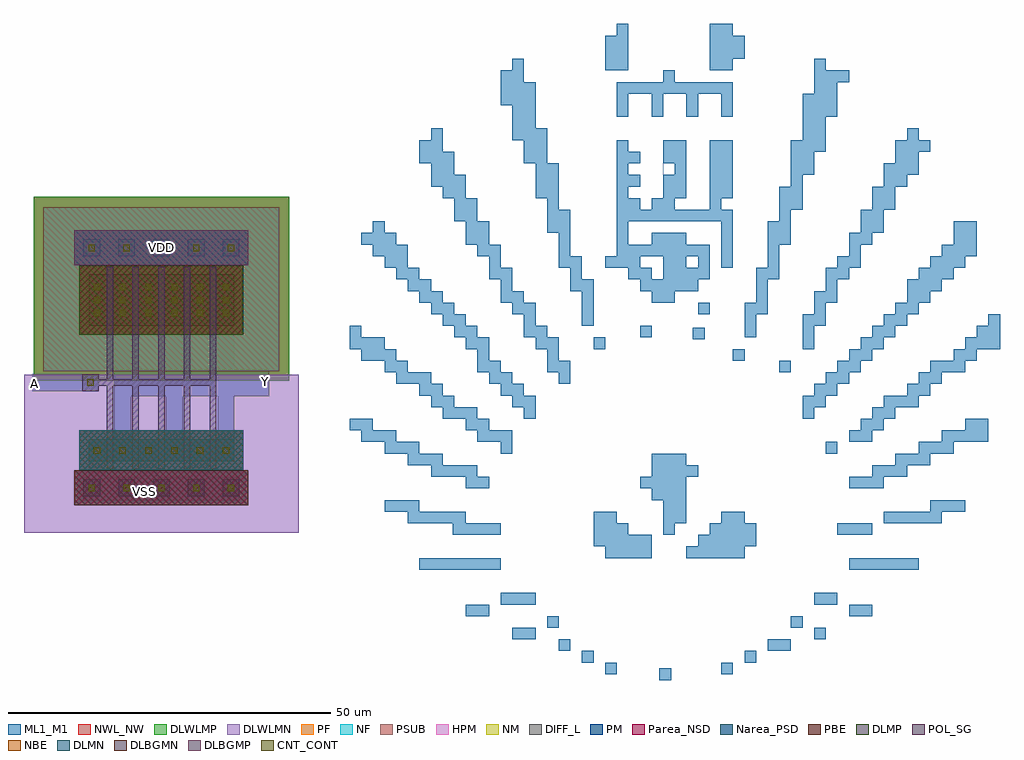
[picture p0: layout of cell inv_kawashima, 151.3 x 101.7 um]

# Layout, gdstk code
import gdstk
lib = gdstk.Library(unit=1e-6, precision=1e-07)
def R(c, l, rs):  # rectangles x0, y0, x1, y1
    for r in rs: c.add(gdstk.rectangle(r[:2], r[2:], *l))
def A(c, l, x, y, w, h, nx, ny, dx, dy):  # array of equal rectangles
    R(c, l, [(x+i*dx, y+j*dy, x+i*dx+w, y+j*dy+h) for i in range(nx) for j in range(ny)])
def P(c, l, *ps):  # polygons
    for p in ps: c.add(gdstk.Polygon(p, *l))
DIFF_L = (3, 0)
NM = (7, 0)
POL_SG = (8, 0)
Narea_PSD = (9, 0)
CNT_CONT = (11, 0)
ML1_M1 = (13, 0)
NF = (25, 0)
PF = (26, 0)
Parea_NSD = (28, 0)
HPM = (33, 0)
PM = (35, 0)
NWL_NW = (36, 0)
PSUB = (140, 0)
PBE = (146, 0)
NBE = (147, 0)
DLWLMP = (150, 0)
DLWLMN = (151, 0)
DLMP = (157, 0)
DLMN = (158, 0)
DLBGMP = (177, 0)
DLBGMN = (178, 0)

dcont_2 = lib.new_cell('DCONT$2')
R(dcont_2, DIFF_L, [(-1.3,-1.3,1.3,1.3)])
R(dcont_2, CNT_CONT, [(-0.5,-0.5,0.5,0.5)])
R(dcont_2, ML1_M1, [(-1.3,-1.3,1.3,1.3), (-0.5,-0.5,0.5,0.5)])

bgmn = lib.new_cell('BGMN')
R(bgmn, NM, [(-2.7,-2.7,2.7,2.7)])
R(bgmn, Parea_NSD, [(-2.7,-2.7,2.7,2.7)])
R(bgmn, HPM, [(-2.7,-2.7,2.7,2.7)])
R(bgmn, PM, [(-2.7,-2.7,2.7,2.7)])
R(bgmn, DLBGMN, [(-2.7,-2.7,2.7,2.7)])
bgmn.add(gdstk.Reference(dcont_2, (0,0)))

pcont = lib.new_cell('pcont')
R(pcont, POL_SG, [(-1.3,-1.3,1.3,1.3)])
R(pcont, CNT_CONT, [(-0.5,-0.5,0.5,0.5)])
R(pcont, ML1_M1, [(-1.3,-1.3,1.3,1.3), (-0.5,-0.5,0.5,0.5)])

dcont = lib.new_cell('dcont')
R(dcont, DIFF_L, [(-1.3,-1.3,1.3,1.3)])
R(dcont, CNT_CONT, [(-0.5,-0.5,0.5,0.5)])
R(dcont, ML1_M1, [(-1.3,-1.3,1.3,1.3), (-0.5,-0.5,0.5,0.5)])

mp_1 = lib.new_cell('MP$1')
R(mp_1, DIFF_L, [(0,3.6,22.6,11.6)])
R(mp_1, NM, [(-1.4,2.2,24,13)])
R(mp_1, NF, [(-7,-3.4,29.6,18.6)])
R(mp_1, PF, [(-7,-3.4,29.6,18.6)])
R(mp_1, Parea_NSD, [(-1.4,2.2,24,13)])
R(mp_1, HPM, [(-1.4,2.2,24,13)])
R(mp_1, NWL_NW, [(-8.5,-4.9,31.1,20.1)])
R(mp_1, PSUB, [(-7,-3.4,29.6,18.6)])
R(mp_1, PBE, [(-1.4,2.2,24,13)])
R(mp_1, DLWLMP, [(-8.5,-4.9,31.1,20.1)])
R(mp_1, DLMP, [(-1.4,2.2,24,13)])
mp_1.add(gdstk.FlexPath([(1.3,3.6),(1.3,11.6)], 2.6, ends="flush", simple_path=True, layer=13, datatype=0))  # ML1_M1
mp_1.add(gdstk.FlexPath([(5.3,3.6),(5.3,11.6)], 2.6, ends="flush", simple_path=True, layer=13, datatype=0))  # ML1_M1
mp_1.add(gdstk.FlexPath([(9.3,3.6),(9.3,11.6)], 2.6, ends="flush", simple_path=True, layer=13, datatype=0))  # ML1_M1
mp_1.add(gdstk.FlexPath([(13.3,3.6),(13.3,11.6)], 2.6, ends="flush", simple_path=True, layer=13, datatype=0))  # ML1_M1
mp_1.add(gdstk.FlexPath([(17.3,3.6),(17.3,11.6)], 2.6, ends="flush", simple_path=True, layer=13, datatype=0))  # ML1_M1
mp_1.add(gdstk.FlexPath([(21.3,3.6),(21.3,11.6)], 2.6, ends="flush", simple_path=True, layer=13, datatype=0))  # ML1_M1
mp_1.add(gdstk.FlexPath([(3.3,3.6),(3.3,11.6)], 1, ends=(1.2, 1.2), simple_path=True, layer=8, datatype=0))  # POL_SG
mp_1.add(gdstk.FlexPath([(7.3,3.6),(7.3,11.6)], 1, ends=(1.2, 1.2), simple_path=True, layer=8, datatype=0))  # POL_SG
mp_1.add(gdstk.FlexPath([(11.3,3.6),(11.3,11.6)], 1, ends=(1.2, 1.2), simple_path=True, layer=8, datatype=0))  # POL_SG
mp_1.add(gdstk.FlexPath([(15.3,3.6),(15.3,11.6)], 1, ends=(1.2, 1.2), simple_path=True, layer=8, datatype=0))  # POL_SG
mp_1.add(gdstk.FlexPath([(19.3,3.6),(19.3,11.6)], 1, ends=(1.2, 1.2), simple_path=True, layer=8, datatype=0))  # POL_SG
mp_1.add(gdstk.Reference(dcont, (1.3,5.6)))
mp_1.add(gdstk.Reference(dcont, (1.3,7.6)))
mp_1.add(gdstk.Reference(dcont, (1.3,9.6)))
mp_1.add(gdstk.Reference(dcont, (5.3,5.6)))
mp_1.add(gdstk.Reference(dcont, (5.3,7.6)))
mp_1.add(gdstk.Reference(dcont, (5.3,9.6)))
mp_1.add(gdstk.Reference(dcont, (9.3,5.6)))
mp_1.add(gdstk.Reference(dcont, (9.3,7.6)))
mp_1.add(gdstk.Reference(dcont, (9.3,9.6)))
mp_1.add(gdstk.Reference(dcont, (13.3,5.6)))
mp_1.add(gdstk.Reference(dcont, (13.3,7.6)))
mp_1.add(gdstk.Reference(dcont, (13.3,9.6)))
mp_1.add(gdstk.Reference(dcont, (17.3,5.6)))
mp_1.add(gdstk.Reference(dcont, (17.3,7.6)))
mp_1.add(gdstk.Reference(dcont, (17.3,9.6)))
mp_1.add(gdstk.Reference(dcont, (21.3,5.6)))
mp_1.add(gdstk.Reference(dcont, (21.3,7.6)))
mp_1.add(gdstk.Reference(dcont, (21.3,9.6)))

c_mn = lib.new_cell('MN')
R(c_mn, DIFF_L, [(0,3.6,22.6,7)])
R(c_mn, Narea_PSD, [(-1.4,2.2,24,8.4)])
R(c_mn, HPM, [(-1.4,2.2,24,8.4)])
R(c_mn, PM, [(-1.4,2.2,24,8.4)])
R(c_mn, NBE, [(-1.4,2.2,24,8.4)])
R(c_mn, DLWLMN, [(-10,-6.4,32.6,17)])
R(c_mn, DLMN, [(-1.4,2.2,24,8.4)])
c_mn.add(gdstk.FlexPath([(1.3,3.6),(1.3,7)], 2.6, ends="flush", simple_path=True, layer=13, datatype=0))  # ML1_M1
c_mn.add(gdstk.FlexPath([(5.3,3.6),(5.3,7)], 2.6, ends="flush", simple_path=True, layer=13, datatype=0))  # ML1_M1
c_mn.add(gdstk.FlexPath([(9.3,3.6),(9.3,7)], 2.6, ends="flush", simple_path=True, layer=13, datatype=0))  # ML1_M1
c_mn.add(gdstk.FlexPath([(13.3,3.6),(13.3,7)], 2.6, ends="flush", simple_path=True, layer=13, datatype=0))  # ML1_M1
c_mn.add(gdstk.FlexPath([(17.3,3.6),(17.3,7)], 2.6, ends="flush", simple_path=True, layer=13, datatype=0))  # ML1_M1
c_mn.add(gdstk.FlexPath([(21.3,3.6),(21.3,7)], 2.6, ends="flush", simple_path=True, layer=13, datatype=0))  # ML1_M1
c_mn.add(gdstk.FlexPath([(3.3,3.6),(3.3,7)], 1, ends=(1.2, 1.2), simple_path=True, layer=8, datatype=0))  # POL_SG
c_mn.add(gdstk.FlexPath([(7.3,3.6),(7.3,7)], 1, ends=(1.2, 1.2), simple_path=True, layer=8, datatype=0))  # POL_SG
c_mn.add(gdstk.FlexPath([(11.3,3.6),(11.3,7)], 1, ends=(1.2, 1.2), simple_path=True, layer=8, datatype=0))  # POL_SG
c_mn.add(gdstk.FlexPath([(15.3,3.6),(15.3,7)], 1, ends=(1.2, 1.2), simple_path=True, layer=8, datatype=0))  # POL_SG
c_mn.add(gdstk.FlexPath([(19.3,3.6),(19.3,7)], 1, ends=(1.2, 1.2), simple_path=True, layer=8, datatype=0))  # POL_SG
c_mn.add(gdstk.Reference(dcont, (1.3,5.3)))
c_mn.add(gdstk.Reference(dcont, (5.3,5.3)))
c_mn.add(gdstk.Reference(dcont, (9.3,5.3)))
c_mn.add(gdstk.Reference(dcont, (13.3,5.3)))
c_mn.add(gdstk.Reference(dcont, (17.3,5.3)))
c_mn.add(gdstk.Reference(dcont, (21.3,5.3)))

bgmp = lib.new_cell('BGMP')
R(bgmp, NM, [(-2.7,-2.7,2.7,2.7)])
R(bgmp, Narea_PSD, [(-2.7,-2.7,2.7,2.7)])
R(bgmp, HPM, [(-2.7,-2.7,2.7,2.7)])
R(bgmp, PM, [(-2.7,-2.7,2.7,2.7)])
R(bgmp, DLBGMP, [(-2.7,-2.7,2.7,2.7)])
bgmp.add(gdstk.Reference(dcont_2, (0,0)))

kyushu_png = lib.new_cell('kyushu.png')
A(kyushu_png, ML1_M1, 81.9, 36, 1.8, 1.8, 4, 1, 5.4, 0)
R(kyushu_png, ML1_M1, [(98.1,-50.4,99.9,-48.6), (105.3,-46.8,108.9,-45), (65.7,-45,69.3,-43.2), (112.5,-45,114.3,-43.2), (71.1,-43.2,72.9,-41.4), (108.9,-43.2,110.7,-41.4), (58.5,-41.4,62.1,-39.6), (117.9,-41.4,121.5,-39.6), (63.9,-39.6,69.3,-37.8), (112.5,-39.6,116.1,-37.8), (51.3,-34.2,63.9,-32.4), (117.9,-34.2,128.7,-32.4), (56.5,-28.8,63.9,-27), (116.1,-28.8,121.5,-27), (121.5,-21.6,123.3,-19.8), (87.3,-18,92.7,-16.2), (117.9,-14.4,119.7,-12.6), (40.5,-12.6,44.1,-10.8), (135.9,-12.6,139.5,-10.8), (67.5,-10.8,69.3,-9), (110.7,-10.8,112.5,-9), (65.7,-9,67.5,-7.2), (112.5,-9,114.3,-7.2), (123.3,-9,126.9,-7.2), (72.9,-5.4,74.7,-3.6), (99.9,-1.8,101.7,0), (58.5,0,60.3,1.8), (78.3,0,80.1,1.8), (101.7,1.8,103.5,5.4), (76.5,3.6,78.3,5.4), (94.5,5.4,96.3,7.2), (101.7,5.4,103.5,7.2), (103.5,7.2,105.3,10.8), (76.5,9,78.3,10.8), (103.5,10.8,105.3,12.6), (98.1,12.6,99.9,19.8), (89.1,28.8,92.7,32.4), (96.3,28.8,99.9,32.4), (81.9,37.8,83.7,39.6), (87.3,37.8,89.1,39.6), (98.1,39.6,99.9,41.4)])
P(kyushu_png, ML1_M1, [(89.1,23.4),(89.1,28.8),(89.1,27),(90.9,27),(90.9,28.8),(92.7,28.8),(92.7,23.4)],
  [(114.3,-5.4),(114.3,-3.6),(116.1,-3.6),(116.1,-1.8),(117.9,-1.8),(117.9,-3.6),(116.1,-3.6),(116.1,-5.4)],
  [(96.3,43.2),(96.3,50.4),(99.9,50.4),(99.9,48.6),(101.7,48.6),(101.7,45),(99.9,45),(99.9,43.2)],
  [(80.1,43.2),(80.1,48.6),(81.9,48.6),(81.9,50.4),(83.7,50.4),(83.7,43.2)],
  [(110.7,37.8),(110.7,39.6),(112.5,39.6),(112.5,45),(114.3,45),(114.3,43.2),(117.9,43.2),(117.9,41.4),(116.1,41.4),(116.1,37.8)],
  [(63.9,37.8),(63.9,43.2),(65.7,43.2),(65.7,45),(67.5,45),(67.5,41.4),(69.3,41.4),(69.3,37.8)],
  [(92.7,37.8),(92.7,39.6),(81.9,39.6),(81.9,41.4),(89.1,41.4),(89.1,43.2),(90.9,43.2),(90.9,41.4),(98.1,41.4),(98.1,39.6),(94.5,39.6),(94.5,37.8)],
  [(67.5,28.8),(67.5,32.4),(65.7,32.4),(65.7,37.8),(69.3,37.8),(69.3,34.2),(71.1,34.2),(71.1,28.8)],
  [(108.9,28.8),(108.9,32.4),(110.7,32.4),(110.7,37.8),(116.1,37.8),(116.1,36),(114.3,36),(114.3,30.6),(112.5,30.6),(112.5,28.8)],
  [(125.1,28.8),(125.1,32.4),(126.9,32.4),(126.9,34.2),(128.7,34.2),(128.7,32.4),(130.5,32.4),(130.5,30.6),(128.7,30.6),(128.7,28.8)],
  [(51.3,28.8),(51.3,32.4),(53.1,32.4),(53.1,34.2),(54.9,34.2),(54.9,30.6),(56.7,30.6),(56.7,28.8)],
  [(81.9,28.8),(81.9,32.4),(83.7,32.4),(83.7,30.6),(85.5,30.6),(85.5,28.8)],
  [(56.7,19.8),(56.7,23.4),(54.9,23.4),(54.9,25.2),(53.1,25.2),(53.1,28.8),(56.7,28.8),(56.7,27),(58.5,27),(58.5,23.4),(60.3,23.4),(60.3,19.8)],
  [(119.7,19.8),(119.7,21.6),(121.5,21.6),(121.5,25.2),(123.3,25.2),(123.3,28.8),(128.7,28.8),(128.7,27),(126.9,27),(126.9,25.2),(125.1,25.2),(125.1,21.6),(123.3,21.6),(123.3,19.8)],
  [(107.1,19.8),(107.1,25.2),(108.9,25.2),(108.9,28.8),(112.5,28.8),(112.5,27),(110.7,27),(110.7,21.6),(108.9,21.6),(108.9,19.8)],
  [(81.9,19.8),(81.9,28.8),(83.7,28.8),(83.7,27),(85.5,27),(85.5,25.2),(83.7,25.2),(83.7,23.4),(85.5,23.4),(85.5,21.6),(87.3,21.6),(87.3,23.4),(89.1,23.4),(89.1,21.6),(96.3,21.6),(96.3,28.8),(99.9,28.8),(99.9,23.4),(98.1,23.4),(98.1,19.8)],
  [(71.1,19.8),(71.1,23.4),(69.3,23.4),(69.3,28.8),(72.9,28.8),(72.9,21.6),(74.7,21.6),(74.7,19.8)],
  [(47.7,10.8),(47.7,12.6),(45.9,12.6),(45.9,14.4),(44.1,14.4),(44.1,16.2),(42.3,16.2),(42.3,18),(44.1,18),(44.1,19.8),(45.9,19.8),(45.9,18),(47.7,18),(47.7,16.2),(49.5,16.2),(49.5,12.6),(51.3,12.6),(51.3,10.8)],
  [(62.1,10.8),(62.1,14.4),(60.3,14.4),(60.3,16.2),(58.5,16.2),(58.5,19.8),(62.1,19.8),(62.1,16.2),(63.9,16.2),(63.9,12.6),(65.7,12.6),(65.7,10.8)],
  [(74.7,10.8),(74.7,12.6),(72.9,12.6),(72.9,18),(71.1,18),(71.1,19.8),(74.7,19.8),(74.7,14.4),(76.5,14.4),(76.5,10.8)],
  [(105.3,12.6),(105.3,19.8),(108.9,19.8),(108.9,16.2),(107.1,16.2),(107.1,12.6)],
  [(114.3,10.8),(114.3,12.6),(116.1,12.6),(116.1,14.4),(117.9,14.4),(117.9,18),(119.7,18),(119.7,19.8),(123.3,19.8),(123.3,18),(121.5,18),(121.5,16.2),(119.7,16.2),(119.7,12.6),(117.9,12.6),(117.9,10.8)],
  [(128.7,10.8),(128.7,12.6),(130.5,12.6),(130.5,14.4),(132.3,14.4),(132.3,16.2),(134.1,16.2),(134.1,19.8),(137.7,19.8),(137.7,14.4),(135.9,14.4),(135.9,12.6),(134.1,12.6),(134.1,10.8)],
  [(83.7,10.8),(83.7,12.6),(80.1,12.6),(80.1,14.4),(85.5,14.4),(85.5,12.6),(87.3,12.6),(87.3,10.8)],
  [(125.1,5.4),(125.1,7.2),(126.9,7.2),(126.9,10.8),(132.3,10.8),(132.3,9),(130.5,9),(130.5,7.2),(128.7,7.2),(128.7,5.4)],
  [(112.5,5.4),(112.5,9),(114.3,9),(114.3,10.8),(116.1,10.8),(116.1,7.2),(114.3,7.2),(114.3,5.4)],
  [(76.5,5.4),(76.5,9),(74.7,9),(74.7,10.8),(76.5,10.8),(76.5,9),(78.3,9),(78.3,5.4)],
  [(65.7,5.4),(65.7,9),(63.9,9),(63.9,10.8),(65.7,10.8),(65.7,9),(67.5,9),(67.5,5.4)],
  [(87.3,7.2),(87.3,9),(85.5,9),(85.5,10.8),(94.5,10.8),(94.5,9),(90.9,9),(90.9,7.2)],
  [(53.1,5.4),(53.1,7.2),(51.3,7.2),(51.3,9),(49.5,9),(49.5,10.8),(53.1,10.8),(53.1,9),(54.9,9),(54.9,7.2),(56.7,7.2),(56.7,5.4)],
  [(130.5,-3.6),(130.5,-1.8),(134.1,-1.8),(134.1,0),(135.9,0),(135.9,1.8),(137.7,1.8),(137.7,3.6),(139.5,3.6),(139.5,5.4),(141.3,5.4),(141.3,0),(137.7,0),(137.7,-1.8),(135.9,-1.8),(135.9,-3.6)],
  [(117.9,-3.6),(117.9,0),(119.7,0),(119.7,1.8),(121.5,1.8),(121.5,3.6),(123.3,3.6),(123.3,5.4),(126.9,5.4),(126.9,3.6),(125.1,3.6),(125.1,1.8),(123.3,1.8),(123.3,0),(121.5,0),(121.5,-1.8),(119.7,-1.8),(119.7,-3.6)],
  [(110.7,1.8),(110.7,5.4),(114.3,5.4),(114.3,3.6),(112.5,3.6),(112.5,1.8)],
  [(71.1,-3.6),(71.1,0),(69.3,0),(69.3,1.8),(67.5,1.8),(67.5,5.4),(69.3,5.4),(69.3,3.6),(71.1,3.6),(71.1,0),(72.9,0),(72.9,-3.6)],
  [(45.9,-3.6),(45.9,-1.8),(42.3,-1.8),(42.3,0),(40.5,0),(40.5,3.6),(42.3,3.6),(42.3,1.8),(45.9,1.8),(45.9,0),(47.7,0),(47.7,-1.8),(49.5,-1.8),(49.5,-3.6)],
  [(56.7,1.8),(56.7,3.6),(54.9,3.6),(54.9,5.4),(56.7,5.4),(56.7,3.6),(58.5,3.6),(58.5,1.8)],
  [(60.3,-3.6),(60.3,0),(62.1,0),(62.1,-1.8),(63.9,-1.8),(63.9,-3.6)],
  [(53.1,-9),(53.1,-7.2),(51.3,-7.2),(51.3,-5.4),(47.7,-5.4),(47.7,-3.6),(51.3,-3.6),(51.3,-5.4),(54.9,-5.4),(54.9,-7.2),(56.7,-7.2),(56.7,-9)],
  [(63.9,-7.2),(63.9,-5.4),(62.1,-5.4),(62.1,-3.6),(65.7,-3.6),(65.7,-7.2)],
  [(126.9,-7.2),(126.9,-5.4),(128.7,-5.4),(128.7,-3.6),(132.3,-3.6),(132.3,-5.4),(130.5,-5.4),(130.5,-7.2)],
  [(58.5,-12.6),(58.5,-10.8),(56.7,-10.8),(56.7,-9),(58.5,-9),(58.5,-10.8),(60.3,-10.8),(60.3,-12.6)],
  [(119.7,-12.6),(119.7,-10.8),(121.5,-10.8),(121.5,-9),(125.1,-9),(125.1,-10.8),(121.5,-10.8),(121.5,-12.6)],
  [(49.5,-18),(49.5,-16.2),(45.9,-16.2),(45.9,-14.4),(42.3,-14.4),(42.3,-12.6),(47.7,-12.6),(47.7,-14.4),(51.3,-14.4),(51.3,-16.2),(54.9,-16.2),(54.9,-18)],
  [(125.1,-18),(125.1,-16.2),(128.7,-16.2),(128.7,-14.4),(132.3,-14.4),(132.3,-12.6),(139.5,-12.6),(139.5,-14.4),(134.1,-14.4),(134.1,-16.2),(130.5,-16.2),(130.5,-18)],
  [(63.9,-16.2),(63.9,-14.4),(60.3,-14.4),(60.3,-12.6),(63.9,-12.6),(63.9,-14.4),(65.7,-14.4),(65.7,-16.2)],
  [(89.1,-28.8),(89.1,-23.4),(87.3,-23.4),(87.3,-18),(94.5,-18),(94.5,-19.8),(92.7,-19.8),(92.7,-27),(90.9,-27),(90.9,-28.8)],
  [(117.9,-21.6),(117.9,-19.8),(121.5,-19.8),(121.5,-18),(125.1,-18),(125.1,-19.8),(121.5,-19.8),(121.5,-21.6)],
  [(58.5,-21.6),(58.5,-19.8),(54.9,-19.8),(54.9,-18),(58.5,-18),(58.5,-19.8),(62.1,-19.8),(62.1,-21.6)],
  [(49.5,-27),(49.5,-25.2),(45.9,-25.2),(45.9,-23.4),(51.3,-23.4),(51.3,-25.2),(58.5,-25.2),(58.5,-27)],
  [(123.3,-27),(123.3,-25.2),(130.5,-25.2),(130.5,-23.4),(135.9,-23.4),(135.9,-25.2),(132.3,-25.2),(132.3,-27)],
  [(92.7,-32.4),(92.7,-30.6),(94.5,-30.6),(94.5,-28.8),(96.3,-28.8),(96.3,-27),(98.1,-27),(98.1,-25.2),(101.7,-25.2),(101.7,-27),(103.5,-27),(103.5,-30.6),(101.7,-30.6),(101.7,-32.4)],
  [(80.1,-32.4),(80.1,-30.6),(78.3,-30.6),(78.3,-25.2),(81.9,-25.2),(81.9,-27),(83.7,-27),(83.7,-28.8),(87.3,-28.8),(87.3,-32.4)],
  [(89.1,10.8),(89.1,12.6),(94.5,12.6),(94.5,14.4),(92.7,14.4),(92.7,12.6),(89.1,12.6),(89.1,14.4),(81.9,14.4),(81.9,19.8),(83.7,19.8),(83.7,16.2),(87.3,16.2),(87.3,18),(92.7,18),(92.7,16.2),(96.3,16.2),(96.3,10.8)])

inv_kawashima = lib.new_cell('inv_kawashima')
A(inv_kawashima, POL_SG, 2.8, -12.8, 1, 15.2, 5, 1, 4, 0)
R(inv_kawashima, POL_SG, [(-0.2,-5.7,19.8,-4.7)])
A(inv_kawashima, ML1_M1, 0, -19.8, 2.6, 2.4, 3, 1, 8, 0)
A(inv_kawashima, ML1_M1, 4, -14, 2.6, 6.7, 3, 2, 8, 10.9)
R(inv_kawashima, ML1_M1, [(88.5,-51.3,90.3,-49.5), (80.1,-50.4,81.9,-48.6), (76.5,-48.6,78.3,-46.8), (101.7,-48.6,103.5,-46.8), (72.9,-46.8,74.7,-45), (-0.8,-23.5,23.4,-19.8), (85.5,-21.6,87.3,-19.8), (121.5,-21.6,123.3,-19.8), (53.1,-19.8,54.9,-18), (58.5,-19.8,60.3,-18), (125.1,-19.8,126.9,-18), (114.3,-16.2,116.1,-14.4), (63.9,-14.4,65.7,-12.6), (119.7,-14.4,121.5,-12.6), (60.3,-12.6,62.1,-10.8), (121.5,-12.6,123.3,-10.8), (54.9,-10.8,56.7,-9), (58.5,-10.8,60.3,-9), (67.5,-9,69.3,-7.2), (112.5,-9,114.3,-7.2), (126.9,-9,128.7,-7.2), (4,-7.3,28,-3.1), (65.7,-7.2,67.5,-5.4), (-8.7,-6.5,1.6,-3.9), (51.3,-5.4,53.1,-3.6), (72.9,-3.6,74.7,-1.8), (107.1,-3.6,108.9,-1.8), (60.3,0,62.1,1.8), (71.1,0,72.9,1.8), (110.7,0,112.5,1.8), (110.7,0,112.5,1.8), (93.7,1.5,95.5,3.3), (85.5,1.8,87.3,3.6), (67.5,5.4,69.3,7.2), (94.5,5.4,96.3,7.2), (103.5,5.4,105.3,7.2), (63.9,7.2,65.7,9), (105.3,10.8,107.1,12.6), (0,11.6,2.6,14), (0,11.6,2.6,14), (8,11.6,10.6,14), (8,11.6,10.6,14), (16,11.6,18.6,14), (16,11.6,18.6,14), (-0.8,14,23.4,17.7), (98.1,19.8,99.9,21.6), (89.1,21.6,90.9,23.4), (98.1,37.8,99.9,39.6)])
P(inv_kawashima, ML1_M1, [(58.5,1.8),(58.5,3.6),(56.7,3.6),(56.7,5.4),(58.5,5.4),(58.5,3.6),(60.3,3.6),(60.3,1.8)],
  [(114.3,-7.2),(114.3,-5.4),(116.1,-5.4),(116.1,-3.6),(117.9,-3.6),(117.9,-5.4),(116.1,-5.4),(116.1,-7.2)],
  [(119.7,-12.6),(119.7,-10.8),(121.5,-10.8),(121.5,-9),(125.1,-9),(125.1,-10.8),(121.5,-10.8),(121.5,-12.6)],
  [(110.7,-9),(110.7,-7.2),(112.5,-7.2),(112.5,-5.4),(114.3,-5.4),(114.3,-7.2),(112.5,-7.2),(112.5,-9)],
  [(117.9,-21.6),(117.9,-19.8),(121.5,-19.8),(121.5,-18),(125.1,-18),(125.1,-19.8),(121.5,-19.8),(121.5,-21.6)])
R(inv_kawashima, NF, [(-7,9.4,29.6,22)])
R(inv_kawashima, PF, [(-7,9.4,29.6,22)])
R(inv_kawashima, NWL_NW, [(-8.5,7.8,31.1,23.6)])
R(inv_kawashima, PSUB, [(-7,18.6,29.6,22)])
R(inv_kawashima, DLWLMP, [(-8.5,7.8,31.1,23.6)])
R(inv_kawashima, DLWLMN, [(-10,-28.5,32.6,-15)])
inv_kawashima.add(gdstk.Reference(bgmn, (0.5,-21.5)))
inv_kawashima.add(gdstk.Reference(bgmn, (11.3,-21.5)))
inv_kawashima.add(gdstk.Reference(bgmn, (16.7,-21.5)))
inv_kawashima.add(gdstk.Reference(bgmn, (5.9,-21.5)))
inv_kawashima.add(gdstk.Reference(bgmn, (22.1,-21.5)))
inv_kawashima.add(gdstk.Reference(pcont, (0.3,-5.2)))
inv_kawashima.add(gdstk.Reference(mp_1, (0,0)))
inv_kawashima.add(gdstk.Reference(c_mn, (0,-21)))
inv_kawashima.add(gdstk.Reference(bgmp, (22.1,15.7)))
inv_kawashima.add(gdstk.Reference(bgmp, (16.7,15.7)))
inv_kawashima.add(gdstk.Reference(bgmp, (11.3,15.7)))
inv_kawashima.add(gdstk.Reference(bgmp, (5.9,15.7)))
inv_kawashima.add(gdstk.Reference(bgmp, (0.5,15.7)))
inv_kawashima.add(gdstk.Reference(kyushu_png, (0,0)))
inv_kawashima.add(gdstk.Label('A', (-8.4,-5.4), layer=13, texttype=0))
inv_kawashima.add(gdstk.Label('Y', (27.4,-5.1), layer=13, texttype=0))
inv_kawashima.add(gdstk.Label('VSS', (8.7,-22), layer=13, texttype=0))
inv_kawashima.add(gdstk.Label('VDD', (11.3,15.7), layer=13, texttype=0))

lib.write_gds('inv_kawashima.gds')
